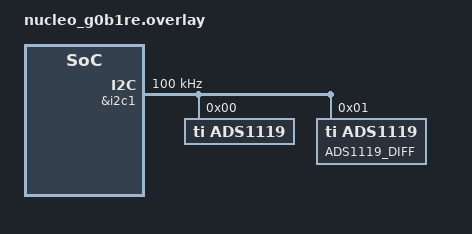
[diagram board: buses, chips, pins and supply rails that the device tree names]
/* Copyright (c) 2021 STMicroelectronics
   SPDX-License-Identifier: Apache-2.0 */

   / {
	zephyr,user {
		/* adjust channel number according to pinmux in board.dts */
		 &i2c1 {

			label = "TEST_I2C_CTLR";
			status = "okay";
			clock-frequency = <I2C_BITRATE_STANDARD>;

			test_i2c_ads1119: ads1119@0 {
				compatible = "ti,ads1119";
				label = "ADS1119";
				reg = <0x0>;
				#io-channel-cells = <1>;
			};
			test_i2c_ads1119_diff: ads1119@1 {
				compatible = "ti,ads1119";
				label = "ADS1119_DIFF";
				reg = <0x1>;
				#io-channel-cells = <2>;
           };
		};
	};
};
